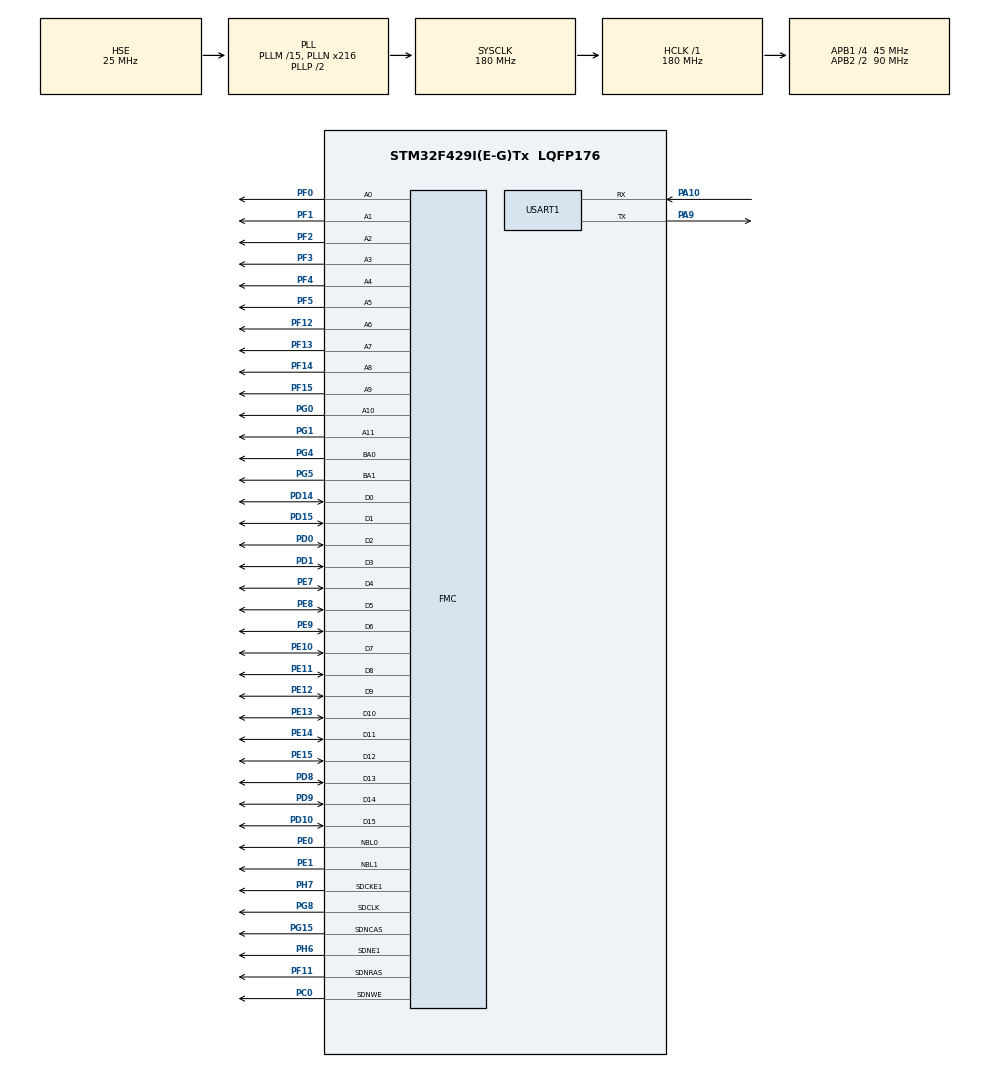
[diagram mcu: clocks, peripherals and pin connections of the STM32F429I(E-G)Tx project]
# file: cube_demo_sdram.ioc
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FMC.CASLatency1=FMC_SDRAM_CAS_LATENCY_2
FMC.ExitSelfRefreshDelay1=8
FMC.LoadToActiveDelay1=2
FMC.RCDDelay1=3
FMC.RPDelay1=2
FMC.RPDelay2=2
FMC.RowCycleDelay1=7
FMC.RowCycleDelay2=7
FMC.SDClockPeriod1=FMC_SDRAM_CLOCK_PERIOD_2
FMC.SDClockPeriod2=FMC_SDRAM_CLOCK_PERIOD_2
FMC.SelfRefreshTime1=5
FMC.WriteRecoveryTime1=2
Mcu.Family=STM32F4
Mcu.Name=STM32F429I(E-G)Tx
Mcu.Package=LQFP176
NVIC.PriorityGroup=NVIC_PRIORITYGROUP_4
PA10.Mode=Asynchronous
PA10.Signal=USART1_RX
PA13.Mode=Serial_Wire
PA13.Signal=SYS_JTMS-SWDIO
PA14.Mode=Serial_Wire
PA14.Signal=SYS_JTCK-SWCLK
PA9.Mode=Asynchronous
PA9.Signal=USART1_TX
PC0.Signal=FMC_SDNWE
PD0.Signal=FMC_D2_DA2
PD1.Signal=FMC_D3_DA3
PD10.Signal=FMC_D15_DA15
PD14.Signal=FMC_D0_DA0
PD15.Signal=FMC_D1_DA1
PD8.Signal=FMC_D13_DA13
PD9.Signal=FMC_D14_DA14
PE0.Signal=FMC_NBL0
PE1.Signal=FMC_NBL1
PE10.Signal=FMC_D7_DA7
PE11.Signal=FMC_D8_DA8
PE12.Signal=FMC_D9_DA9
PE13.Signal=FMC_D10_DA10
PE14.Signal=FMC_D11_DA11
PE15.Signal=FMC_D12_DA12
PE7.Signal=FMC_D4_DA4
PE8.Signal=FMC_D5_DA5
PE9.Signal=FMC_D6_DA6
PF0.Signal=FMC_A0
PF1.Signal=FMC_A1
PF11.Signal=FMC_SDNRAS
PF12.Signal=FMC_A6
PF13.Signal=FMC_A7
PF14.Signal=FMC_A8
PF15.Signal=FMC_A9
PF2.Signal=FMC_A2
PF3.Signal=FMC_A3
PF4.Signal=FMC_A4
PF5.Signal=FMC_A5
PG0.Signal=FMC_A10
PG1.Signal=FMC_A11
PG15.Signal=FMC_SDNCAS
PG4.Signal=FMC_A14_BA0
PG5.Signal=FMC_A15_BA1
PG8.Signal=FMC_SDCLK
PH0/OSC_IN.Mode=HSE-External-Oscillator
PH0/OSC_IN.Signal=RCC_OSC_IN
PH1/OSC_OUT.Mode=HSE-External-Oscillator
PH1/OSC_OUT.Signal=RCC_OSC_OUT
PH6.Mode=SdramChipSelect2_1
PH6.Signal=FMC_SDNE1
PH7.Mode=SdramChipSelect2_1
PH7.Signal=FMC_SDCKE1
ProjectManager.HeapSize=0x200
ProjectManager.StackSize=0x400
ProjectManager.TargetToolchain=MDK-ARM V5
RCC.48MHZClocksFreq_Value=90000000
RCC.AHBFreq_Value=180000000
RCC.APB1CLKDivider=RCC_HCLK_DIV4
RCC.APB1Freq_Value=45000000
RCC.APB1TimFreq_Value=90000000
RCC.APB2CLKDivider=RCC_HCLK_DIV2
RCC.APB2Freq_Value=90000000
RCC.APB2TimFreq_Value=180000000
RCC.CortexFreq_Value=180000000
RCC.HCLKFreq_Value=180000000
RCC.HSE_VALUE=25000000
RCC.HSI_VALUE=16000000
RCC.LSE_VALUE=32768
RCC.PLLM=15
RCC.PLLN=216
RCC.PLLSourceVirtual=RCC_PLLSOURCE_HSE
RCC.SYSCLKFreq_VALUE=180000000
RCC.SYSCLKSource=RCC_SYSCLKSOURCE_PLLCLK
RCC.VCOOutputFreq_Value=360000000
SH.FMC_A0.0=FMC_A0,12b-sda1
SH.FMC_A1.0=FMC_A1,12b-sda1
SH.FMC_A10.0=FMC_A10,12b-sda1
SH.FMC_A11.0=FMC_A11,12b-sda1
SH.FMC_A14_BA0.0=FMC_BA0,FourSdramBanks1
SH.FMC_A15_BA1.0=FMC_BA1,FourSdramBanks1
SH.FMC_A2.0=FMC_A2,12b-sda1
SH.FMC_A3.0=FMC_A3,12b-sda1
SH.FMC_A4.0=FMC_A4,12b-sda1
SH.FMC_A5.0=FMC_A5,12b-sda1
SH.FMC_A6.0=FMC_A6,12b-sda1
SH.FMC_A7.0=FMC_A7,12b-sda1
SH.FMC_A8.0=FMC_A8,12b-sda1
SH.FMC_A9.0=FMC_A9,12b-sda1
SH.FMC_D0_DA0.0=FMC_D0,sd-16b-d1
SH.FMC_D10_DA10.0=FMC_D10,sd-16b-d1
SH.FMC_D11_DA11.0=FMC_D11,sd-16b-d1
SH.FMC_D12_DA12.0=FMC_D12,sd-16b-d1
SH.FMC_D13_DA13.0=FMC_D13,sd-16b-d1
SH.FMC_D14_DA14.0=FMC_D14,sd-16b-d1
SH.FMC_D15_DA15.0=FMC_D15,sd-16b-d1
SH.FMC_D1_DA1.0=FMC_D1,sd-16b-d1
SH.FMC_D2_DA2.0=FMC_D2,sd-16b-d1
SH.FMC_D3_DA3.0=FMC_D3,sd-16b-d1
SH.FMC_D4_DA4.0=FMC_D4,sd-16b-d1
SH.FMC_D5_DA5.0=FMC_D5,sd-16b-d1
SH.FMC_D6_DA6.0=FMC_D6,sd-16b-d1
SH.FMC_D7_DA7.0=FMC_D7,sd-16b-d1
SH.FMC_D8_DA8.0=FMC_D8,sd-16b-d1
SH.FMC_D9_DA9.0=FMC_D9,sd-16b-d1
SH.FMC_NBL0.0=FMC_NBL0,Sd2ByteEnable1
SH.FMC_NBL1.0=FMC_NBL1,Sd2ByteEnable1
SH.FMC_SDCLK.0=FMC_SDCLK,12b-sda1
SH.FMC_SDNCAS.0=FMC_SDNCAS,12b-sda1
SH.FMC_SDNRAS.0=FMC_SDNRAS,12b-sda1
SH.FMC_SDNWE.0=FMC_SDNWE,12b-sda1
USART1.VirtualMode=VM_ASYNC
board=custom

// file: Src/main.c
/* USER CODE BEGIN Header */
/**
  ******************************************************************************
  * @file           : main.c
  * @brief          : Main program body
  ******************************************************************************
  * @attention
  *
  * <h2><center>&copy; Copyright (c) 2019 STMicroelectronics.
  * All rights reserved.</center></h2>
  *
  * This software component is licensed by ST under BSD 3-Clause license,
  * the "License"; You may not use this file except in compliance with the
  * License. You may obtain a copy of the License at:
  *                        opensource.org/licenses/BSD-3-Clause
  *
  ******************************************************************************
  */
/* USER CODE END Header */

#include "main.h"
#include "usart.h"
#include "gpio.h"
#include "fmc.h"

/* USER CODE BEGIN Includes */
#include "stm32746g_sdram.h"
/* USER CODE END Includes */

void SystemClock_Config(void);
/* USER CODE BEGIN PFP */
#define BUFFER_SIZE         ((uint32_t)0x0100)
#define WRITE_READ_ADDR     ((uint32_t)0x0800)
/* Read/Write Buffers */
uint32_t aTxBuffer[BUFFER_SIZE];
uint32_t aRxBuffer[BUFFER_SIZE];
/* Status variables */
__IO uint32_t checkWriteReadStatus = 0;
int i;
unsigned char date[]="test sdram!!!";
/* USER CODE END PFP */

int main(void)
{

  /* MCU Configuration--------------------------------------------------------*/

  /* Reset of all peripherals, Initializes the Flash interface and the Systick. */
  HAL_Init();

  /* Configure the system clock */
  SystemClock_Config();

  /* Initialize all configured peripherals */
  MX_GPIO_Init();
  MX_FMC_Init();
  MX_USART1_UART_Init();
  /* USER CODE BEGIN 2 */
  HAL_UART_Transmit(&huart1, date, 0x0D, 0xffff);
  BSP_SDRAM_Initialization_sequence(REFRESH_COUNT);
  /* 1- SDRAM memory read/write access */
  /* Fill the buffer to write */
  for (i = 0; i < BUFFER_SIZE; i++)
  {
    aTxBuffer[i] = 0x00000000 + i; /* TxBuffer init */
  }

  /* Write data to the SDRAM memory */
  BSP_SDRAM_WriteData(SDRAM_DEVICE_ADDR + WRITE_READ_ADDR, aTxBuffer, BUFFER_SIZE);
  printf("\r\n/* Write data to the SDRAM memory */\r\n\r\n");
  for (i = 0; i < BUFFER_SIZE; i++)
  {
    printf("%02X:0x%08X ", i, aTxBuffer[i]);
  }
  printf("\r\n");

  /* Read back data from the SDRAM memory */
  BSP_SDRAM_ReadData(SDRAM_DEVICE_ADDR + WRITE_READ_ADDR, aRxBuffer, BUFFER_SIZE - 1);
  printf("\r\n/* Read back data from the SDRAM memory */\r\n\r\n");
  for (i = 0; i < BUFFER_SIZE; i++)
  {
    printf("%02X:0x%08X ", i, aRxBuffer[i]);
  }
  printf("\r\n");

  /* 2- Checking data integrity */
  for (i = 0; (i < BUFFER_SIZE); i++)
  {
    if (aRxBuffer[i] != aTxBuffer[i])
      checkWriteReadStatus++;
  }
  if (checkWriteReadStatus == 0) /* check date */
    printf("\r\n SDRAM Test OK\r\n");
  else
    printf("\r\n SDRAM Test False\r\n");

  /* USER CODE END 2 */

  /* Infinite loop */
  while (1)
  {

  }
}

void SystemClock_Config(void)
{
  RCC_OscInitTypeDef RCC_OscInitStruct = {0};
  RCC_ClkInitTypeDef RCC_ClkInitStruct = {0};

  /** Configure the main internal regulator output voltage
  */
  __HAL_RCC_PWR_CLK_ENABLE();
  __HAL_PWR_VOLTAGESCALING_CONFIG(PWR_REGULATOR_VOLTAGE_SCALE1);
  /** Initializes the CPU, AHB and APB busses clocks
  */
  RCC_OscInitStruct.OscillatorType = RCC_OSCILLATORTYPE_HSE;
  RCC_OscInitStruct.HSEState = RCC_HSE_ON;
  RCC_OscInitStruct.PLL.PLLState = RCC_PLL_ON;
  RCC_OscInitStruct.PLL.PLLSource = RCC_PLLSOURCE_HSE;
  RCC_OscInitStruct.PLL.PLLM = 15;
  RCC_OscInitStruct.PLL.PLLN = 216;
  RCC_OscInitStruct.PLL.PLLP = RCC_PLLP_DIV2;
  RCC_OscInitStruct.PLL.PLLQ = 4;
  if (HAL_RCC_OscConfig(&RCC_OscInitStruct) != HAL_OK)
  {
    Error_Handler();
  }
  /** Activate the Over-Drive mode
  */
  if (HAL_PWREx_EnableOverDrive() != HAL_OK)
  {
    Error_Handler();
  }
  /** Initializes the CPU, AHB and APB busses clocks
  */
  RCC_ClkInitStruct.ClockType = RCC_CLOCKTYPE_HCLK|RCC_CLOCKTYPE_SYSCLK
                              |RCC_CLOCKTYPE_PCLK1|RCC_CLOCKTYPE_PCLK2;
  RCC_ClkInitStruct.SYSCLKSource = RCC_SYSCLKSOURCE_PLLCLK;
  RCC_ClkInitStruct.AHBCLKDivider = RCC_SYSCLK_DIV1;
  RCC_ClkInitStruct.APB1CLKDivider = RCC_HCLK_DIV4;
  RCC_ClkInitStruct.APB2CLKDivider = RCC_HCLK_DIV2;

  if (HAL_RCC_ClockConfig(&RCC_ClkInitStruct, FLASH_LATENCY_5) != HAL_OK)
  {
    Error_Handler();
  }
}

void Error_Handler(void)
{
}

/************************ (C) COPYRIGHT STMicroelectronics *****END OF FILE****/
